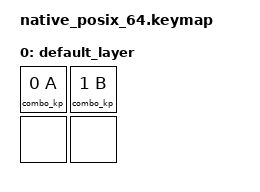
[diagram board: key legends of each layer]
#include <dt-bindings/zmk/keys.h>
#include <behaviors.dtsi>
#include <dt-bindings/zmk/kscan_mock.h>

/ {
    combos {
        compatible = "zmk,combos";
        combo_one {
            timeout-ms = <30>;
            triggers = <0 1>;
            bindings = <&kp C>;
        };
    };

    keymap {
        compatible = "zmk,keymap";

        default_layer {
            bindings = <
                &combo_kp 0 A &combo_kp 1 B
                &none &none
            >;
        };
    };
};

&kscan {
    events = <
        /* all different combinations of press and release order */
        ZMK_MOCK_PRESS(0,0,10)
        ZMK_MOCK_PRESS(0,1,10)
        ZMK_MOCK_RELEASE(0,0,10)
        ZMK_MOCK_RELEASE(0,1,10)

        ZMK_MOCK_PRESS(0,1,10)
        ZMK_MOCK_PRESS(0,0,10)
        ZMK_MOCK_RELEASE(0,0,10)
        ZMK_MOCK_RELEASE(0,1,10)

        ZMK_MOCK_PRESS(0,0,10)
        ZMK_MOCK_PRESS(0,1,10)
        ZMK_MOCK_RELEASE(0,1,10)
        ZMK_MOCK_RELEASE(0,0,10)

        ZMK_MOCK_PRESS(0,1,10)
        ZMK_MOCK_PRESS(0,0,10)
        ZMK_MOCK_RELEASE(0,1,10)
        ZMK_MOCK_RELEASE(0,0,10)
    >;
};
